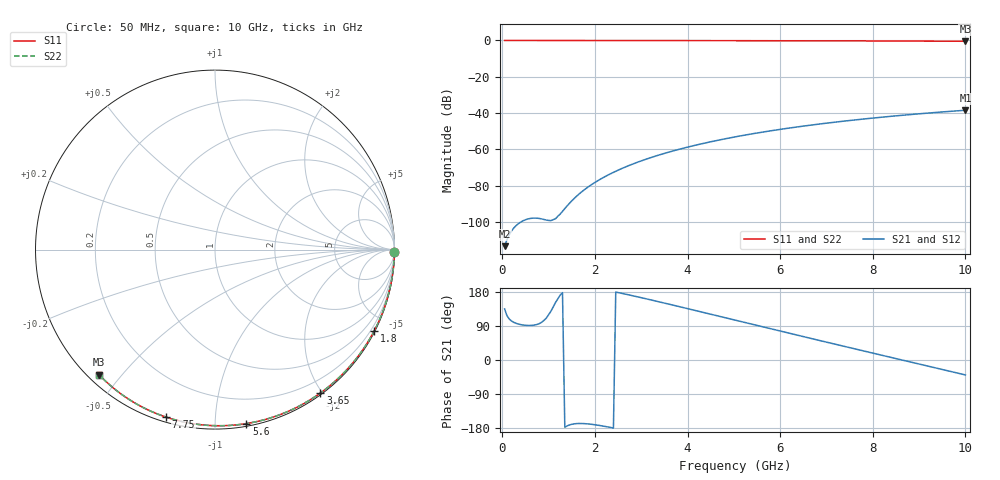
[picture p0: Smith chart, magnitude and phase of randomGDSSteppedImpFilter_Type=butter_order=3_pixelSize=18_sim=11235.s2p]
! freq	dB(S11)	phase(S11)	dB(S12)	phase(S12)
!  dB(S21)	phase(S21)	dB(S22)	phase(S22)
!S-par simulation data
#  GHz  S  DB  R 50
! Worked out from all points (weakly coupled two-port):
!   200 points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, 50 MHz to 10 GHz, reference 50 ohm
!   highest |S21| = -38.41 dB at 10 GHz (marker M1); lowest = -113.2 dB at 50 MHz (marker M2)
!   lowest |S11| = -0.4 dB at 10 GHz (marker M3), VSWR 39.15, Z = 1.52 - j21.8 ohm
!   |S11| at or under -10 dB: nowhere
!   |S22| runs from -0.4 to 0.0 dB; largest |S21 - S12| = 0
!   S11 on the Smith chart (normalised r, x): 50 MHz: open; 1.8 GHz: 0.04, -4.15; 3.65 GHz: 0.02, -1.98; 5.6 GHz: 0.02, -1.20; 7.75 GHz: 0.02, -0.75; 10 GHz: 0.03, -0.44
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0.05  -0.00 -0.8  -113.20 134.7  -113.20 134.7  -0.00 -0.8
0.45  -0.01 -6.9  -99.21 92.3  -99.21 92.3  -0.01 -6.9
0.9  -0.02 -13.7  -98.53 104.5  -98.53 104.5  -0.02 -13.7
1.75  -0.03 -26.3  -82.58 -167.7  -82.58 -167.7  -0.03 -26.3
1.8  -0.03 -27.1  -81.61 -168.1  -81.61 -168.1  -0.03 -27.1
1.9  -0.04 -28.6  -79.80 -169.3  -79.80 -169.3  -0.04 -28.6
2.05  -0.04 -30.8  -77.36 -171.8  -77.36 -171.8  -0.04 -30.8
2.25  -0.04 -33.7  -74.49 -176.0  -74.49 -176.0  -0.04 -33.7
2.45  -0.05 -36.6  -71.97 179.3  -71.97 179.3  -0.05 -36.6
2.65  -0.05 -39.5  -69.71 174.1  -69.71 174.1  -0.05 -39.5
3  -0.06 -44.5  -66.27 164.5  -66.27 164.5  -0.06 -44.5
3.4  -0.07 -50.2  -62.91 153.2  -62.91 153.2  -0.07 -50.2
3.65  -0.07 -53.7  -61.05 145.9  -61.05 145.9  -0.07 -53.7
4.3  -0.09 -62.6  -56.88 126.8  -56.88 126.8  -0.09 -62.6
5.05  -0.11 -72.6  -52.95 104.6  -52.95 104.6  -0.11 -72.6
5.6  -0.13 -79.8  -50.51 88.3  -50.51 88.3  -0.13 -79.8
6.15  -0.15 -86.8  -48.37 72.0  -48.37 72.0  -0.15 -86.8
6.7  -0.18 -93.6  -46.46 55.9  -46.46 55.9  -0.18 -93.6
7.75  -0.24 -106.3  -43.36 25.4  -43.36 25.4  -0.24 -106.3
8.35  -0.29 -113.4  -41.84 8.1  -41.84 8.1  -0.29 -113.4
9.15  -0.36 -122.8  -40.05 -14.8  -40.05 -14.8  -0.36 -122.8
10  -0.44 -132.9  -38.41 -39.4  -38.41 -39.4  -0.44 -132.9
